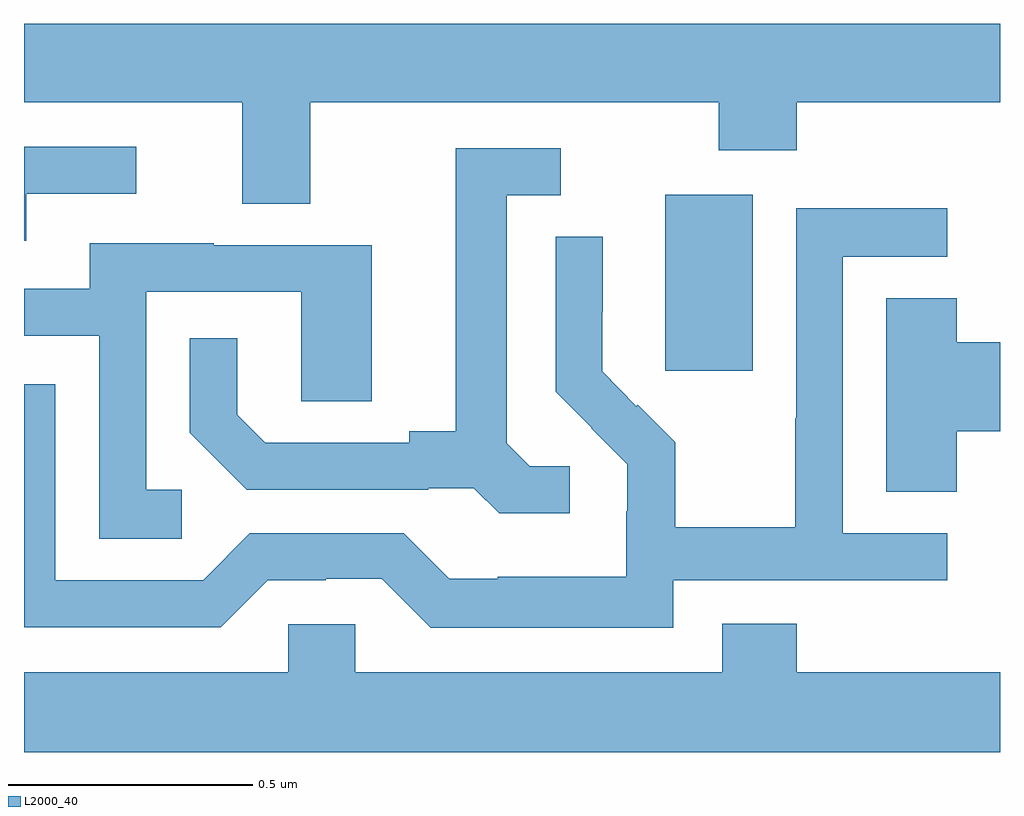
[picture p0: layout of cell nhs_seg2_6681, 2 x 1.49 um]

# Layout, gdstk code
import gdstk
lib = gdstk.Library(unit=1e-6, precision=1e-09)
def R(c, l, rs):  # rectangles x0, y0, x1, y1
    for r in rs: c.add(gdstk.rectangle(r[:2], r[2:], *l))
def P(c, l, *ps):  # polygons
    for p in ps: c.add(gdstk.Polygon(p, *l))
L2000_40 = (2000, 40)

nhs_seg2_6681 = lib.new_cell('nhs_seg2_6681')
R(nhs_seg2_6681, L2000_40, [(195.314,643.089,195.493,643.45)])
P(nhs_seg2_6681, L2000_40, [(194.587,643.64),(195.424,643.64),(195.424,643.541),(195.584,643.541),(195.584,643.64),(196,643.64),(196,643.8),(194,643.8),(194,643.64),(194.447,643.64),(194.447,643.432),(194.587,643.432)],
  [(194.005,643.452),(194.23,643.452),(194.23,643.548),(194,643.548),(194,643.356),(194.005,643.356)],
  [(195.118,642.894),(195.036,642.894),(194.989,642.941),(194.989,643.449),(195.1,643.449),(195.1,643.545),(194.885,643.545),(194.885,642.965),(194.789,642.965),(194.789,642.942),(194.494,642.942),(194.437,642.999),(194.437,643.156),(194.34,643.156),(194.34,642.962),(194.456,642.846),(194.828,642.846),(194.828,642.849),(194.922,642.849),(194.974,642.797),(195.118,642.797)],
  [(195.33,642.66),(195.892,642.66),(195.892,642.756),(195.678,642.756),(195.678,643.323),(195.892,643.323),(195.892,643.422),(195.582,643.422),(195.582,642.992),(195.58,642.992),(195.58,642.769),(195.335,642.769),(195.335,642.943),(195.258,643.02),(195.255,643.017),(195.185,643.088),(195.185,643.21),(195.186,643.21),(195.186,643.364),(195.09,643.364),(195.09,643.046),(195.163,642.973),(195.162,642.972),(195.236,642.898),(195.236,642.801),(195.234,642.801),(195.234,642.667),(194.971,642.667),(194.971,642.663),(194.871,642.663),(194.778,642.756),(194.463,642.756),(194.367,642.66),(194.064,642.66),(194.064,643.062),(194,643.062),(194,642.564),(194.403,642.564),(194.499,642.66),(194.618,642.66),(194.618,642.663),(194.733,642.663),(194.833,642.563),(195.33,642.563)],
  [(194.323,642.846),(194.25,642.846),(194.25,643.251),(194.568,643.251),(194.568,643.027),(194.713,643.027),(194.713,643.347),(194.389,643.347),(194.389,643.351),(194.135,643.351),(194.135,643.257),(194,643.257),(194,643.161),(194.154,643.161),(194.154,642.745),(194.323,642.745)],
  [(195.911,642.965),(196,642.965),(196,643.148),(195.911,643.148),(195.911,643.238),(195.767,643.238),(195.767,642.841),(195.911,642.841)],
  [(196,642.472),(195.584,642.472),(195.584,642.571),(195.431,642.571),(195.431,642.472),(194.679,642.472),(194.679,642.57),(194.541,642.57),(194.541,642.472),(194,642.472),(194,642.308),(196,642.308)])

lib.write_gds('nhs_seg2_6681.gds')
